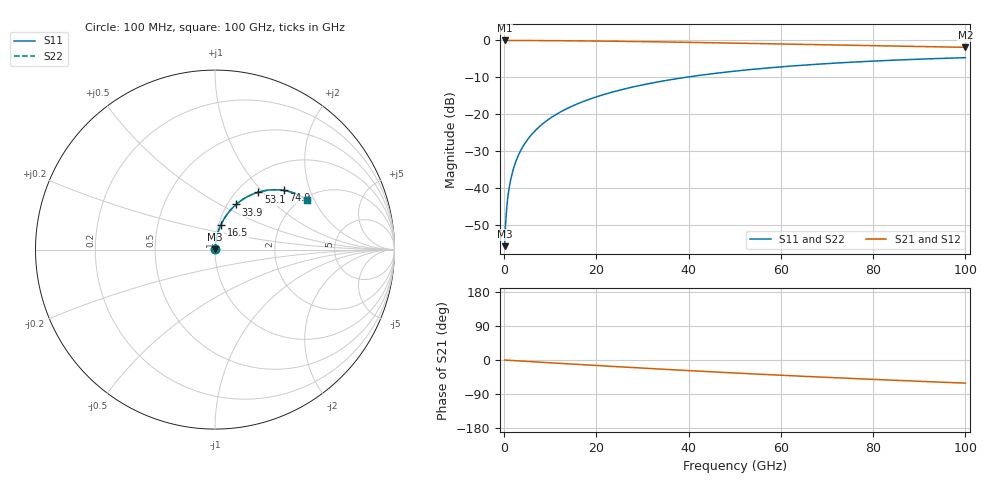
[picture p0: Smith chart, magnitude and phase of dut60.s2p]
! Touchstone file exported from HFSS 2026.1.0
!  File:  C:/ffzhzh/LocalFiles/Ansys_Project_Files/temp_train_RDL_60_1783498451_31944.aedt
!  Generated:  04:15:17 PM Jul  8, 2026
!  Design:  RDL
!  Project:  temp_train_RDL_60_1783498451_31944
! Variables:
!  h_bsmrdl = 2um
!  h_ox = 20um
!  h_rdl = 5um
!  h_sub = 80um
!  h_tmrdl = 2.68um
!  h_tsv = 80um
!  h_via = 3um
!  l_bsmrdl = 300um
!  l_sub = 548.57um
!  l_tmrdl = 148.57um
!  m_sub = 200um
!  pitch = 51.63um
!  r_tsv = 6um
!  s_tmrdl = 10um
!  w_bsmrdl = 18um
!  w_sub = 500um
!  w_tmrdl = 18.98um
!  x_tsv_center1 = 158.06um
!  x_tsv_center2 = 476.06um
!  x_tsv_center3 = 643.61um
!  x_tsv_center4 = 961.61um
!  x_tsv_center5 = 1129.16um
!  x_tsv_center6 = 1447.16um
# GHz S MA R 50.000000
! Terminal data exported
! Port[1] = TM_RDL1_1_T1
! Port[2] = TM_RDL1_1_T2
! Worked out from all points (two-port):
!   1000 points, 100 MHz to 100 GHz, reference 50 ohm
!   highest |S21| = -0.01 dB at 100 MHz (marker M1); lowest = -1.9 dB at 100 GHz (marker M2)
!   |S21| within 3 dB of the highest: start of sweep to end of sweep
!   lowest |S11| = -55.8 dB at 100 MHz (marker M3), VSWR 1.00, Z = 50.1 + j0.0952 ohm
!   |S11| at or under -10 dB: start of sweep to 39.44 GHz
!   |S22| runs from -55.8 to -4.7 dB; largest |S21 - S12| = 6.4e-15
!   S11 on the Smith chart (normalised r, x): 100 MHz: 1.00, +0.00; 16.5 GHz: 1.03, +0.29; 33.9 GHz: 1.10, +0.60; 53.1 GHz: 1.24, +0.94; 74.9 GHz: 1.52, +1.35; 100 GHz: 2.10, +1.77
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0.1  0.001618 35.9  0.9987 -0.1  0.9987 -0.1  0.001618 35.9
! Gamma 0 0 0 0
! Port Impedance 50 0 50 0
0.3  0.003137 63.8  0.9986 -0.2  0.9986 -0.2  0.003137 63.8
0.9  0.008338 78.6  0.9984 -0.7  0.9984 -0.7  0.008338 78.6
1.2  0.01097 80.7  0.9983 -0.9  0.9983 -0.9  0.01097 80.7
1.5  0.0136 82.0  0.9983 -1.1  0.9983 -1.1  0.0136 82.0
2  0.01802 83.2  0.9982 -1.5  0.9982 -1.5  0.01802 83.2
2.5  0.02244 83.8  0.998 -1.9  0.998 -1.9  0.02244 83.8
4  0.03571 84.0  0.9975 -3.0  0.9975 -3.0  0.03571 84.0
6.1  0.0542 83.2  0.9964 -4.5  0.9964 -4.5  0.0542 83.2
8.8  0.07774 81.7  0.9945 -6.5  0.9945 -6.5  0.07774 81.7
12.2  0.1069 79.4  0.9912 -9.0  0.9912 -9.0  0.1069 79.4
16.5  0.143 76.5  0.9861 -12.0  0.9861 -12.0  0.143 76.5
16.8  0.1454 76.3  0.9857 -12.2  0.9857 -12.2  0.1454 76.3
24.2  0.205 71.3  0.9742 -17.4  0.9742 -17.4  0.205 71.3
33.4  0.2742 65.2  0.9564 -23.7  0.9564 -23.7  0.2742 65.2
33.9  0.2778 64.9  0.9554 -24.0  0.9554 -24.0  0.2778 64.9
50.1  0.3835 54.8  0.9175 -34.4  0.9175 -34.4  0.3835 54.7
53.1  0.4008 53.0  0.9101 -36.2  0.9101 -36.2  0.4008 53.0
66.7  0.47 45.2  0.8763 -44.0  0.8763 -44.0  0.47 45.2
74.9  0.5049 40.8  0.8567 -48.5  0.8567 -48.5  0.5049 40.8
83.4  0.536 36.5  0.8377 -52.9  0.8377 -52.9  0.536 36.4
100  0.5832 28.5  0.8057 -61.0  0.8057 -61.0  0.5832 28.4
